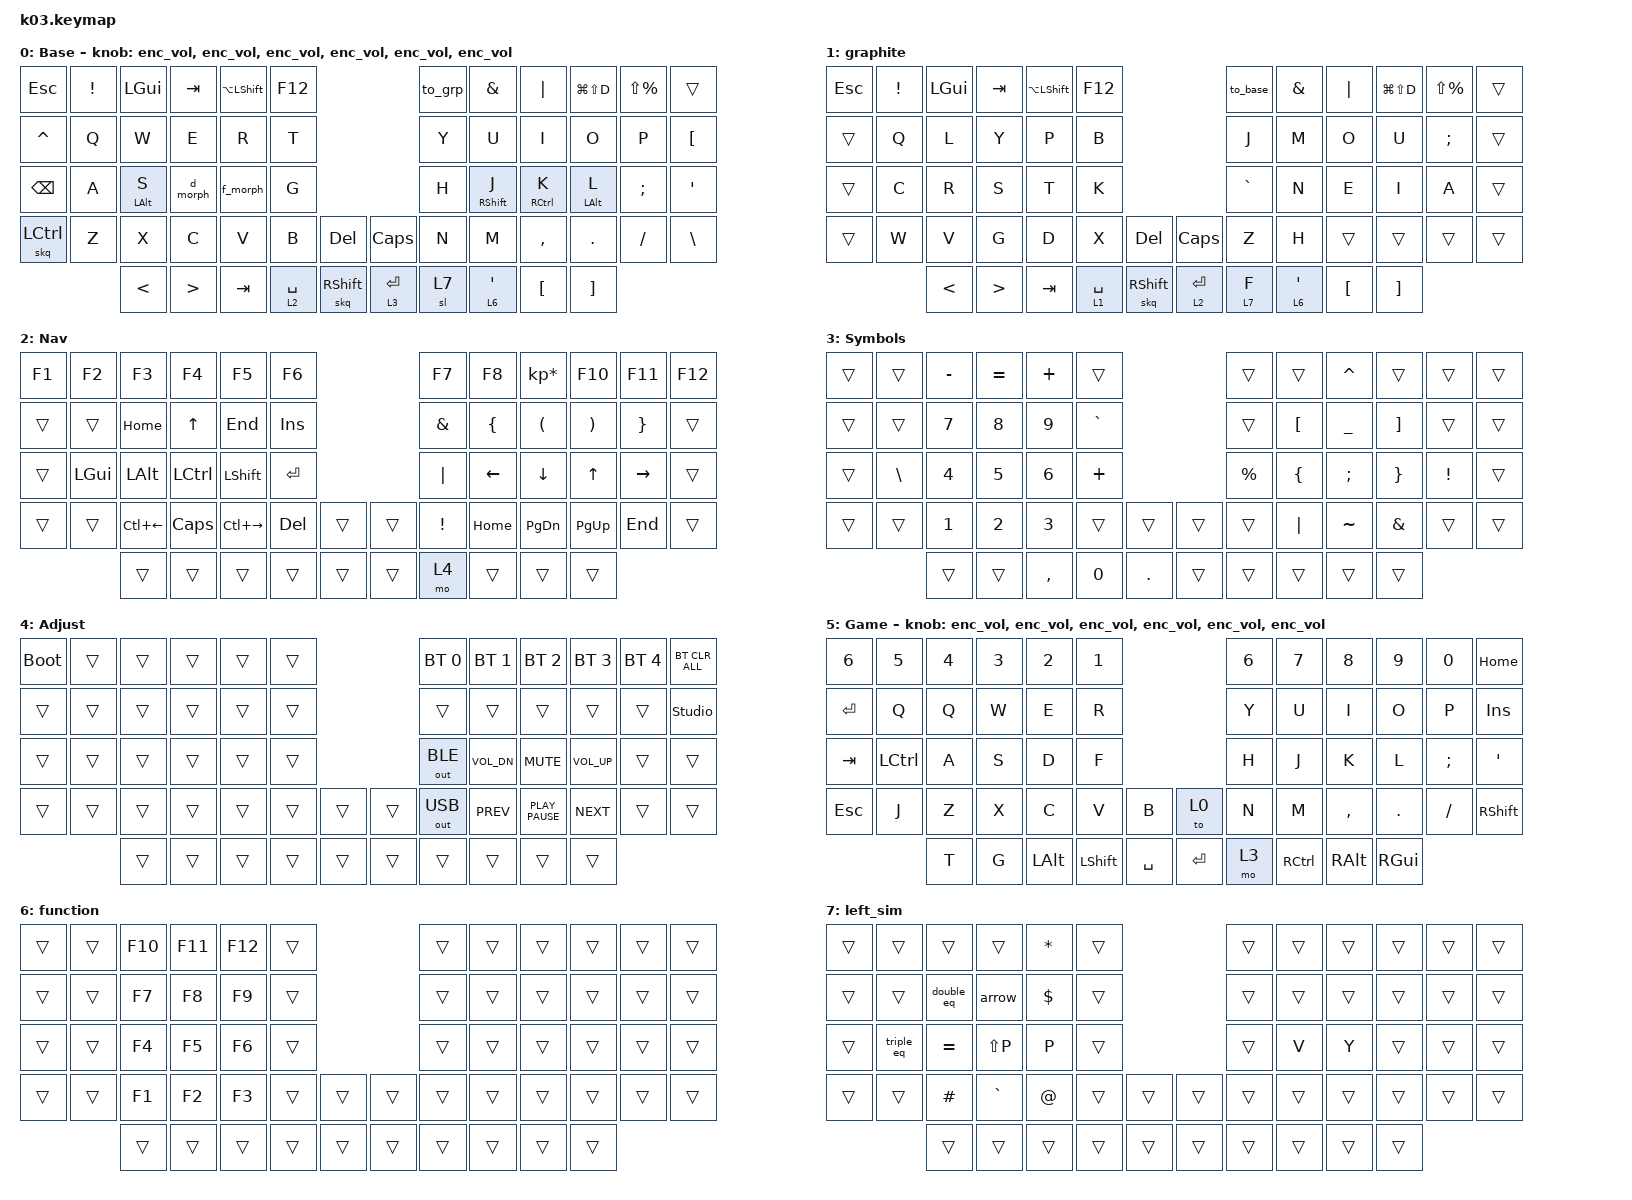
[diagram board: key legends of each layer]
#include "keys_ru.h"
#include <behaviors.dtsi>
#include <dt-bindings/zmk/bt.h>
#include <dt-bindings/zmk/keys.h>
#include <dt-bindings/zmk/outputs.h>

/* Layer Definitions */

#define BASE 0
#define NAV 1
#define SYM 2
#define ADJ 3
#define GAME 4
#define FUNC 5
#define LEFT_SIM 6
#define GRAPHITE 7
#define KEYS_L 0 1 2 3 4 5 12 13 14 15 16 17 24 25 26 27 28 29 36 37 38 39 40 41 42 50 51
#define KEYS_R 6 7 8 9 10 11 18 19 20 21 22 23 30 31 32 33 34 35 43 44 45 46 47 48 49 58 59
#define THUMBS 52 53 54 55 56 57

/ {
    behaviors {
        /* 
         * Left-hand HRMs 
         * Use this for keys on the Left side. 
         * Triggers hold-behavior when a Right-side key or Thumb is pressed.
         */

        hml: hml {
            compatible = "zmk,behavior-hold-tap";
            label = "HML";
            #binding-cells = <2>;
            flavor = "balanced";
            tapping-term-ms = <280>;
            quick-tap-ms = <175>;
            require-prior-idle-ms = <150>;
            bindings = <&kp>, <&kp>;

            hold-trigger-key-positions = <KEYS_R THUMBS>;
            hold-trigger-on-release;
            hold-while-undecided;
        };

        // Morph the 'D' key behavior

        d_morph: d_morph {
            compatible = "zmk,behavior-mod-morph";
            label = "D_MORPH";
            #binding-cells = <0>;
            bindings = <&hml LCTRL D>, <&kp D>;

            mods = <(MOD_RSFT)>;
            keep-mods = <(MOD_RSFT)>;
        };

        f_morph: f_morph {
            compatible = "zmk,behavior-mod-morph";
            label = "F_MORPH";
            #binding-cells = <0>;
            bindings = <&hml LEFT_SHIFT F>, <&kp F>;

            mods = <(MOD_RSFT)>;
            keep-mods = <(MOD_RSFT)>;
        };

        /* 
        Graphite Left Middle Finger (was D, now T) 
        Retains LCTRL home row mod 
        */

        t_morph: t_morph {
            compatible = "zmk,behavior-mod-morph";
            label = "T_MORPH";
            #binding-cells = <0>;
            bindings = <&hml LCTRL T>, <&kp T>;

            mods = <(MOD_RSFT)>;
            keep-mods = <(MOD_RSFT)>;
        };

        /* 
        Graphite Left Index Finger (was F, now S) 
        Retains LEFT_SHIFT home row mod
        */

        s_morph: s_morph {
            compatible = "zmk,behavior-mod-morph";
            label = "S_MORPH";
            #binding-cells = <0>;
            bindings = <&hml LEFT_SHIFT S>, <&kp S>;

            mods = <(MOD_RSFT)>;
            keep-mods = <(MOD_RSFT)>;
        };

        hml2: hml2 {
            compatible = "zmk,behavior-hold-tap";
            label = "HML2";
            #binding-cells = <2>;
            flavor = "balanced";
            tapping-term-ms = <300>;
            quick-tap-ms = <175>;
            require-prior-idle-ms = <150>;
            bindings = <&kp>, <&kp>;

            hold-trigger-key-positions = <KEYS_R THUMBS>;
            hold-trigger-on-release;
        };

        /* 
         * Right-hand HRMs 
         * Use this for keys on the Right side. 
         * Triggers hold-behavior when a Left-side key or Thumb is pressed.
         */

        hmr: hmr {
            compatible = "zmk,behavior-hold-tap";
            label = "HMR";
            #binding-cells = <2>;
            flavor = "balanced";
            tapping-term-ms = <280>;
            quick-tap-ms = <175>;
            require-prior-idle-ms = <150>;
            bindings = <&kp>, <&kp>;

            hold-trigger-key-positions = <KEYS_L THUMBS>;
            hold-trigger-on-release;
        };

        skq: sticky_key_with_quick_release {
            compatible = "zmk,behavior-sticky-key";
            label = "STICKY_KEY_QUICK_RELEASE";
            #binding-cells = <1>;
            bindings = <&kp>;
            release-after-ms = <2000>;
            quick-release;
        };

        shl: balanced_momentary_layer_tap_sticky {
            compatible = "zmk,behavior-hold-tap";
            label = "MOMENTARY_LAYER_TAP_STICKY";
            #binding-cells = <2>;
            tapping-term-ms = <150>;
            quick-tap-ms = <125>;
            flavor = "balanced";
            bindings = <&mo>, <&skq>;
        };

        enc_vol: enc_vol {
            compatible = "zmk,behavior-sensor-rotate";
            label = "ENC_VOL";
            #sensor-binding-cells = <0>;
            bindings = <&kp C_VOL_UP>, <&kp C_VOL_DN>;
        };
    };

    combos {
        compatible = "zmk,combos";

        plus {
            bindings = <&kp PLUS>;
            key-positions = <20 32>;
            require-prior-idle-ms = <150>;
        };

        minus {
            bindings = <&kp MINUS>;
            key-positions = <32 46>;
            require-prior-idle-ms = <150>;
        };

        colon {
            bindings = <&kp LS(P)>;
            key-positions = <31 45>;
            require-prior-idle-ms = <150>;
        };

        multiply {
            bindings = <&kp EQUAL>;
            key-positions = <19 31>;
            require-prior-idle-ms = <150>;
        };

        underscore {
            bindings = <&kp UNDERSCORE>;
            key-positions = <45 46>;
            require-prior-idle-ms = <150>;
        };

        right {
            bindings = <&kp RIGHT_ARROW>;
            key-positions = <40 28>;
            require-prior-idle-ms = <200>;
        };

        left {
            bindings = <&kp LEFT_ARROW>;
            key-positions = <39 27>;
            timeout-ms = <200>;
        };

        copy {
            bindings = <&kp LC(C)>;
            key-positions = <15 27>;
            require-prior-idle-ms = <150>;
        };

        paste {
            bindings = <&kp LC(V)>;
            key-positions = <16 28>;
            require-prior-idle-ms = <150>;
        };

        cut {
            bindings = <&kp LC(X)>;
            key-positions = <14 26>;
            layers = <0>;
            require-prior-idle-ms = <150>;
        };

        undo {
            bindings = <&kp LC(Z)>;
            key-positions = <15 16>;
            require-prior-idle-ms = <200>;
        };

        mult {
            bindings = <&kp ASTRK>;
            key-positions = <18 30>;
        };

        percent {
            bindings = <&kp PERCENT>;
            key-positions = <30 44>;
        };
    };

    macros {
        triple_eq: triple_space {
            compatible = "zmk,behavior-macro";
            #binding-cells = <0>;
            bindings = <&kp EQUAL &kp EQUAL &kp EQUAL>;
            label = "TRIPLE_SPACE";
        };

        double_eq: double_eq {
            compatible = "zmk,behavior-macro";
            #binding-cells = <0>;
            bindings = <&kp EQUAL &kp EQUAL>;
            label = "DOUBLE_EQ";
        };

        arrow: arrow {
            compatible = "zmk,behavior-macro";
            #binding-cells = <0>;
            bindings = <&kp EQUAL &kp GREATER_THAN>;
            label = "ARROW";
        };

        /* 
           Macro: Graphite Switch
           1. Toggles OS Language (Alt+Shift)
           2. Switches ZMK Layer to GRAPHITE
        */

        to_grp: to_grp {
            compatible = "zmk,behavior-macro";
            #binding-cells = <0>;
            label = "TO_GRAPHITE";
            bindings = <&kp LA(LSHIFT) &to 1>;
        };

        /* 
           Macro: Base/QWERTY Switch
           1. Toggles OS Language (Alt+Shift)
           2. Switches ZMK Layer to BASE
        */

        to_base: to_base {
            compatible = "zmk,behavior-macro";
            #binding-cells = <0>;
            label = "TO_BASE";
            bindings = <&kp LA(LSHIFT) &to 0>;
        };
    };

    keymap {
        compatible = "zmk,keymap";

        base {
            bindings = <
&kp ESC            &kp EXCL  &kp LEFT_GUI      &kp TAB           &kp LA(LEFT_SHIFT)  &kp F12                                       &to_grp  &kp AMPERSAND       &kp PIPE              &kp LG(LS(D))      &kp LS(PERCENT)  &trans
&kp CARET          &kp Q     &kp W             &kp E             &kp R               &kp T                                         &kp Y    &kp U               &kp I                 &kp O              &kp P            &kp LEFT_BRACKET
&kp BACKSPACE      &kp A     &hml2 LEFT_ALT S  &d_morph          &f_morph            &kp G                                         &kp H    &hmr RIGHT_SHIFT J  &hmr RIGHT_CONTROL K  &hmr LEFT_ALT L    &kp SEMI         &kp SINGLE_QUOTE
&skq LEFT_CONTROL  &kp Z     &kp X             &kp C             &kp V               &kp B        &kp DELETE          &kp CAPS     &kp N    &kp M               &kp COMMA             &kp DOT            &kp FSLH         &kp BACKSLASH
                             &kp LESS_THAN     &kp GREATER_THAN  &kp TAB             &lt 2 SPACE  &skq RIGHT_SHIFT    &lt 3 ENTER  &sl 7    &lt 6 SINGLE_QUOTE  &kp LEFT_BRACKET      &kp RIGHT_BRACKET
            >;

            display-name = "Base";
            sensor-bindings =
                <&enc_vol>,
                <&enc_vol>,
                <&enc_vol>,
                <&enc_vol>,
                <&enc_vol>,
                <&enc_vol>;
        };

        graphite {
            bindings = <
&kp ESC  &kp EXCL  &kp LEFT_GUI   &kp TAB           &kp LA(LEFT_SHIFT)  &kp F12                                       &to_base   &kp AMPERSAND       &kp PIPE          &kp LG(LS(D))      &kp LS(PERCENT)  &trans
&trans   &kp Q     &kp L          &kp Y             &kp P               &kp B                                         &kp J      &kp M               &kp O             &kp U              &kp SEMI         &trans
&trans   &kp C     &kp R          &kp S             &kp T               &kp K                                         &kp GRAVE  &kp N               &kp E             &kp I              &kp A            &trans
&trans   &kp W     &kp V          &kp G             &kp D               &kp X        &kp DELETE          &kp CAPS     &kp Z      &kp H               &trans            &trans             &trans           &trans
                   &kp LESS_THAN  &kp GREATER_THAN  &kp TAB             &lt 1 SPACE  &skq RIGHT_SHIFT    &lt 2 ENTER  &lt 7 F    &lt 6 SINGLE_QUOTE  &kp LEFT_BRACKET  &kp RIGHT_BRACKET
            >;

            display-name = "graphite";
        };

        nav {
            bindings = <
&kp F1  &kp F2        &kp F3        &kp F4            &kp F5          &kp F6                     &kp F7    &kp F8          &kp KP_MULTIPLY       &kp F10                &kp F11          &kp F12
&trans  &trans        &kp HOME      &kp UP            &kp END         &kp INS                    &kp AMPS  &kp LEFT_BRACE  &kp LEFT_PARENTHESIS  &kp RIGHT_PARENTHESIS  &kp RIGHT_BRACE  &trans
&trans  &kp LEFT_GUI  &kp LEFT_ALT  &kp LEFT_CONTROL  &kp LEFT_SHIFT  &kp RET                    &kp PIPE  &kp LEFT_ARROW  &kp DOWN_ARROW        &kp UP_ARROW           &kp RIGHT_ARROW  &trans
&trans  &trans        &kp LC(LEFT)  &kp CAPS          &kp LC(RIGHT)   &kp DEL  &trans    &trans  &kp EXCL  &kp HOME        &kp PAGE_DOWN         &kp PAGE_UP            &kp END          &trans
                      &trans        &trans            &trans          &trans   &trans    &trans  &mo 4     &trans          &trans                &trans
            >;

            display-name = "Nav";
        };

        sym {
            bindings = <
&trans  &trans    &kp MINUS     &kp EQUAL     &kp PLUS      &trans                        &trans     &trans    &kp CARET  &trans    &trans    &trans
&trans  &trans    &kp NUMBER_7  &kp NUMBER_8  &kp NUMBER_9  &kp GRAVE                     &trans     &kp LBKT  &kp UNDER  &kp RBKT  &trans    &trans
&trans  &kp BSLH  &kp NUMBER_4  &kp NUMBER_5  &kp NUMBER_6  &kp PLUS                      &kp PRCNT  &kp LBRC  &kp SEMI   &kp RBRC  &kp EXCL  &trans
&trans  &trans    &kp NUMBER_1  &kp NUMBER_2  &kp NUMBER_3  &trans     &trans     &trans  &trans     &kp PIPE  &kp TILDE  &kp AMPS  &trans    &trans
                  &trans        &trans        &kp COMMA     &kp N0     &kp DOT    &trans  &trans     &trans    &trans     &trans
            >;

            display-name = "Symbols";
        };

        adj {
            bindings = <
&bootloader  &trans  &trans  &trans  &trans  &trans                    &bt BT_SEL 0  &bt BT_SEL 1  &bt BT_SEL 2      &bt BT_SEL 3  &bt BT_SEL 4  &bt BT_CLR_ALL
&trans       &trans  &trans  &trans  &trans  &trans                    &trans        &trans        &trans            &trans        &trans        &studio_unlock
&trans       &trans  &trans  &trans  &trans  &trans                    &out OUT_BLE  &kp C_VOL_DN  &kp K_MUTE        &kp C_VOL_UP  &trans        &trans
&trans       &trans  &trans  &trans  &trans  &trans  &trans    &trans  &out OUT_USB  &kp K_PREV    &kp K_PLAY_PAUSE  &kp K_NEXT    &trans        &trans
                     &trans  &trans  &trans  &trans  &trans    &trans  &trans        &trans        &trans            &trans
            >;

            display-name = "Adjust";
        };

        game {
            bindings = <
&kp N6     &kp N5            &kp N4  &kp N3  &kp N2        &kp N1                                  &kp N6  &kp N7     &kp N8     &kp N9    &kp N0    &kp HOME
&kp ENTER  &kp Q             &kp Q   &kp W   &kp E         &kp R                                   &kp Y   &kp U      &kp I      &kp O     &kp P     &kp INSERT
&kp TAB    &kp LEFT_CONTROL  &kp A   &kp S   &kp D         &kp F                                   &kp H   &kp J      &kp K      &kp L     &kp SEMI  &kp SQT
&kp ESC    &kp J             &kp Z   &kp X   &kp C         &kp V           &kp B        &to 0      &kp N   &kp M      &kp COMMA  &kp DOT   &kp FSLH  &kp RSHFT
                             &kp T   &kp G   &kp LEFT_ALT  &kp LEFT_SHIFT  &kp SPACE    &kp ENTER  &mo 3   &kp RCTRL  &kp RALT   &kp RGUI
            >;

            display-name = "Game";
            sensor-bindings =
                <&enc_vol>,
                <&enc_vol>,
                <&enc_vol>,
                <&enc_vol>,
                <&enc_vol>,
                <&enc_vol>;
        };

        function {
            bindings = <
&trans  &trans  &kp F10  &kp F11  &kp F12  &trans                    &trans  &trans  &trans  &trans  &trans  &trans
&trans  &trans  &kp F7   &kp F8   &kp F9   &trans                    &trans  &trans  &trans  &trans  &trans  &trans
&trans  &trans  &kp F4   &kp F5   &kp F6   &trans                    &trans  &trans  &trans  &trans  &trans  &trans
&trans  &trans  &kp F1   &kp F2   &kp F3   &trans  &trans    &trans  &trans  &trans  &trans  &trans  &trans  &trans
                &trans   &trans   &trans   &trans  &trans    &trans  &trans  &trans  &trans  &trans
            >;
        };

        left_sim {
            bindings = <
&trans  &trans      &trans      &trans     &kp ASTERISK  &trans                    &trans  &trans  &trans  &trans  &trans  &trans
&trans  &trans      &double_eq  &arrow     &kp DOLLAR    &trans                    &trans  &trans  &trans  &trans  &trans  &trans
&trans  &triple_eq  &kp EQUAL   &kp LS(P)  &kp P         &trans                    &trans  &kp V   &kp Y   &trans  &trans  &trans
&trans  &trans      &kp HASH    &kp GRAVE  &kp AT        &trans  &trans    &trans  &trans  &trans  &trans  &trans  &trans  &trans
                    &trans      &trans     &trans        &trans  &trans    &trans  &trans  &trans  &trans  &trans
            >;
        };
    };
};
